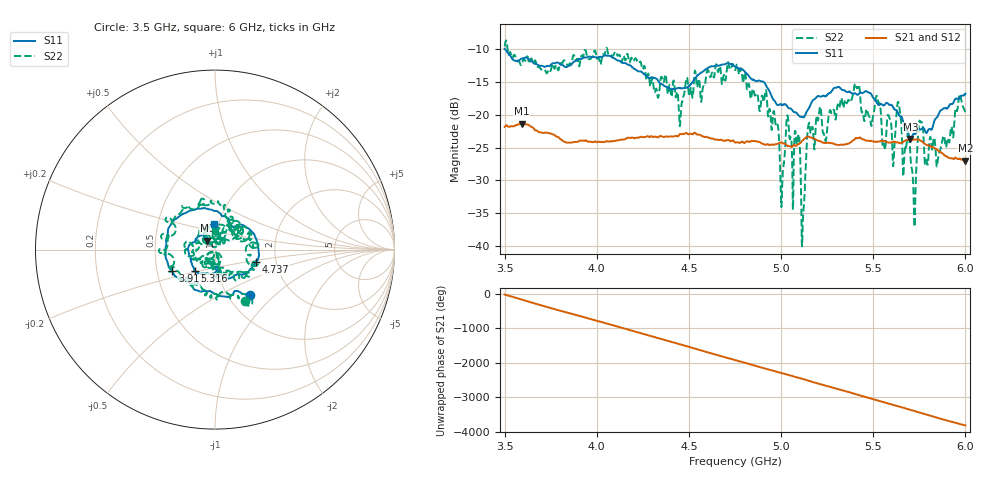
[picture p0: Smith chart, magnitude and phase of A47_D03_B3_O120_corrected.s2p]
! Created with skrf 1.9.0 (http://scikit-rf.org).
# Hz S RI R 50.0
!freq ReS11 ImS11 ReS21 ImS21 ReS12 ImS12 ReS22 ImS22
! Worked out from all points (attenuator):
!   1601 points, 3.5 GHz to 6 GHz, reference 50 ohm
!   highest |S21| = -21.33 dB at 3.592 GHz (marker M1); lowest = -27.0 dB at 6 GHz (marker M2)
!   lowest |S11| = -23.7 dB at 5.702 GHz (marker M3), VSWR 1.14, Z = 45.7 + j4.57 ohm
!   |S11| at or under -10 dB: 3.503 GHz to end of sweep
!   |S22| runs from -40.0 to -8.6 dB; largest |S21 - S12| = 0.00093
!   S11 on the Smith chart (normalised r, x): 3.5 GHz: 1.26, -0.71; 3.917 GHz: 0.60, -0.16; 4.737 GHz: 1.58, -0.23; 5.316 GHz: 0.78, -0.19; 6 GHz: 0.95, +0.28
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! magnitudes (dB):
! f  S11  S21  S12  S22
! 3.5 GHz  -9.9  -21.8  -21.8  -9.6
! 3.592 GHz  -11.4  -21.3  -21.3  -12.4
! 3.917 GHz  -11.5  -23.9  -23.9  -10.9
! 4.334 GHz  -14.9  -23.4  -23.3  -17.3
! 4.455 GHz  -15.9  -22.9  -22.9  -20.5
! 4.737 GHz  -12.4  -23.9  -23.9  -12.2
! 4.75 GHz  -12.7  -24.2  -24.1  -13.2
! 4.97 GHz  -18.1  -24.5  -24.4  -21.6
! 5.005 GHz  -18.4  -24.2  -24.2  -31.9
! 5.034 GHz  -18.8  -24.7  -24.6  -20.1
! 5.088 GHz  -19.8  -24.6  -24.6  -24.3
! 5.119 GHz  -20.3  -23.8  -23.8  -35.7
! 5.145 GHz  -19.2  -23.3  -23.3  -22.1
! 5.167 GHz  -18.0  -23.5  -23.4  -22.0
! 5.316 GHz  -15.8  -24.6  -24.6  -18.9
! 5.584 GHz  -18.4  -24.2  -24.2  -20.1
! 5.639 GHz  -20.0  -24.3  -24.2  -18.4
! 5.702 GHz  -23.7  -23.8  -23.8  -26.2
! 5.722 GHz  -22.9  -23.7  -23.7  -35.3
! 5.756 GHz  -22.2  -23.9  -23.9  -21.1
! 5.852 GHz  -20.1  -25.4  -25.4  -26.7
! 6 GHz  -16.8  -27.0  -26.9  -19.7
